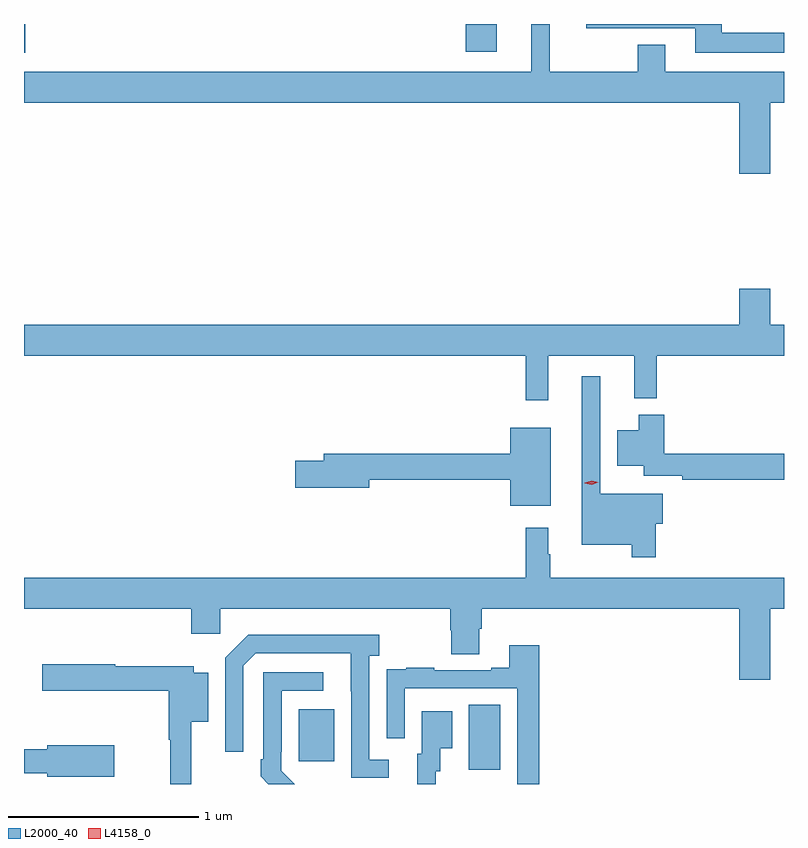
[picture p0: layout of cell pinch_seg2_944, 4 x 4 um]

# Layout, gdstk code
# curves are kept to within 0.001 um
import gdstk
lib = gdstk.Library(unit=1e-6, precision=1e-09)
def R(c, l, rs):  # rectangles x0, y0, x1, y1
    for r in rs: c.add(gdstk.rectangle(r[:2], r[2:], *l))
def P(c, l, *ps):  # polygons
    for p in ps: c.add(gdstk.Polygon(p, *l))
L2000_40 = (2000, 40)
L4158_0 = (4158, 0)

pinch_seg2_944 = lib.new_cell('pinch_seg2_944')
R(pinch_seg2_944, L2000_40, [(343.406,636.133,343.57,636.476), (342.509,636.177,342.697,636.451), (341.064,639.908,341.071,640.058), (343.388,639.912,343.552,640.058)])
P(pinch_seg2_944, L2000_40, [(344.992,639.644),(345.064,639.644),(345.064,639.808),(344.44,639.808),(344.44,639.95),(344.293,639.95),(344.293,639.808),(343.832,639.808),(343.832,640.058),(343.733,640.058),(343.733,639.808),(341.064,639.808),(341.064,639.644),(344.828,639.644),(344.828,639.27),(344.992,639.27)],
  [(345.064,640.012),(344.737,640.012),(344.737,640.058),(344.024,640.058),(344.024,640.035),(344.597,640.035),(344.597,639.908),(345.064,639.908)],
  [(343.823,638.312),(344.276,638.312),(344.276,638.087),(344.393,638.087),(344.393,638.312),(345.064,638.312),(345.064,638.476),(344.992,638.476),(344.992,638.665),(344.828,638.665),(344.828,638.476),(341.064,638.476),(341.064,638.312),(343.705,638.312),(343.705,638.079),(343.823,638.079)],
  [(344.39,637.427),(344.425,637.427),(344.425,637.585),(344.097,637.585),(344.097,638.203),(344,638.203),(344,637.316),(344.262,637.316),(344.262,637.251),(344.39,637.251)],
  [(345.064,637.796),(344.435,637.796),(344.435,638.002),(344.3,638.002),(344.3,637.921),(344.186,637.921),(344.186,637.733),(344.325,637.733),(344.325,637.68),(344.528,637.68),(344.528,637.66),(345.064,637.66)],
  [(343.837,637.933),(343.622,637.933),(343.622,637.796),(342.641,637.796),(342.641,637.76),(342.492,637.76),(342.492,637.618),(342.88,637.618),(342.88,637.66),(343.622,637.66),(343.622,637.523),(343.837,637.523)],
  [(344.992,636.98),(345.064,636.98),(345.064,637.144),(343.834,637.144),(343.834,637.268),(343.822,637.268),(343.822,637.408),(343.705,637.408),(343.705,637.144),(341.064,637.144),(341.064,636.98),(341.945,636.98),(341.945,636.849),(342.096,636.849),(342.096,636.98),(343.307,636.98),(343.307,636.867),(343.312,636.867),(343.312,636.742),(343.459,636.742),(343.459,636.874),(343.472,636.874),(343.472,636.98),(344.828,636.98),(344.828,636.606),(344.992,636.606)],
  [(342.985,636.186),(342.882,636.186),(342.882,636.734),(342.934,636.734),(342.934,636.844),(342.244,636.844),(342.123,636.723),(342.123,636.228),(342.219,636.228),(342.219,636.681),(342.285,636.747),(342.785,636.747),(342.786,636.09),(342.985,636.09)],
  [(343.775,636.787),(343.619,636.787),(343.619,636.67),(343.523,636.67),(343.523,636.657),(343.223,636.657),(343.223,636.67),(343.075,636.67),(343.075,636.663),(342.973,636.663),(342.973,636.554),(342.972,636.554),(342.972,636.3),(343.068,636.3),(343.068,636.561),(343.659,636.561),(343.659,636.058),(343.775,636.058)],
  [(341.945,636.386),(342.034,636.386),(342.034,636.643),(341.958,636.643),(341.958,636.679),(341.544,636.679),(341.544,636.687),(341.16,636.687),(341.16,636.55),(341.827,636.55),(341.827,636.29),(341.835,636.29),(341.835,636.058),(341.945,636.058)],
  [(342.417,636.129),(342.417,636.229),(342.42,636.229),(342.42,636.549),(342.64,636.549),(342.64,636.645),(342.324,636.645),(342.324,636.187),(342.309,636.187),(342.309,636.099),(342.35,636.058),(342.489,636.058)],
  [(343.23,636.126),(343.255,636.126),(343.255,636.245),(343.318,636.245),(343.318,636.442),(343.157,636.442),(343.157,636.216),(343.133,636.216),(343.133,636.058),(343.23,636.058)],
  [(341.539,636.261),(341.186,636.261),(341.186,636.242),(341.064,636.242),(341.064,636.114),(341.186,636.114),(341.186,636.095),(341.539,636.095)])
P(pinch_seg2_944, L4158_0, [(344.052,637.634),(344.016,637.642),(344.016,637.643),(344.016,637.643),(344.051,637.654),(344.087,637.646),(344.087,637.646),(344.087,637.646)])

lib.write_gds('pinch_seg2_944.gds')
